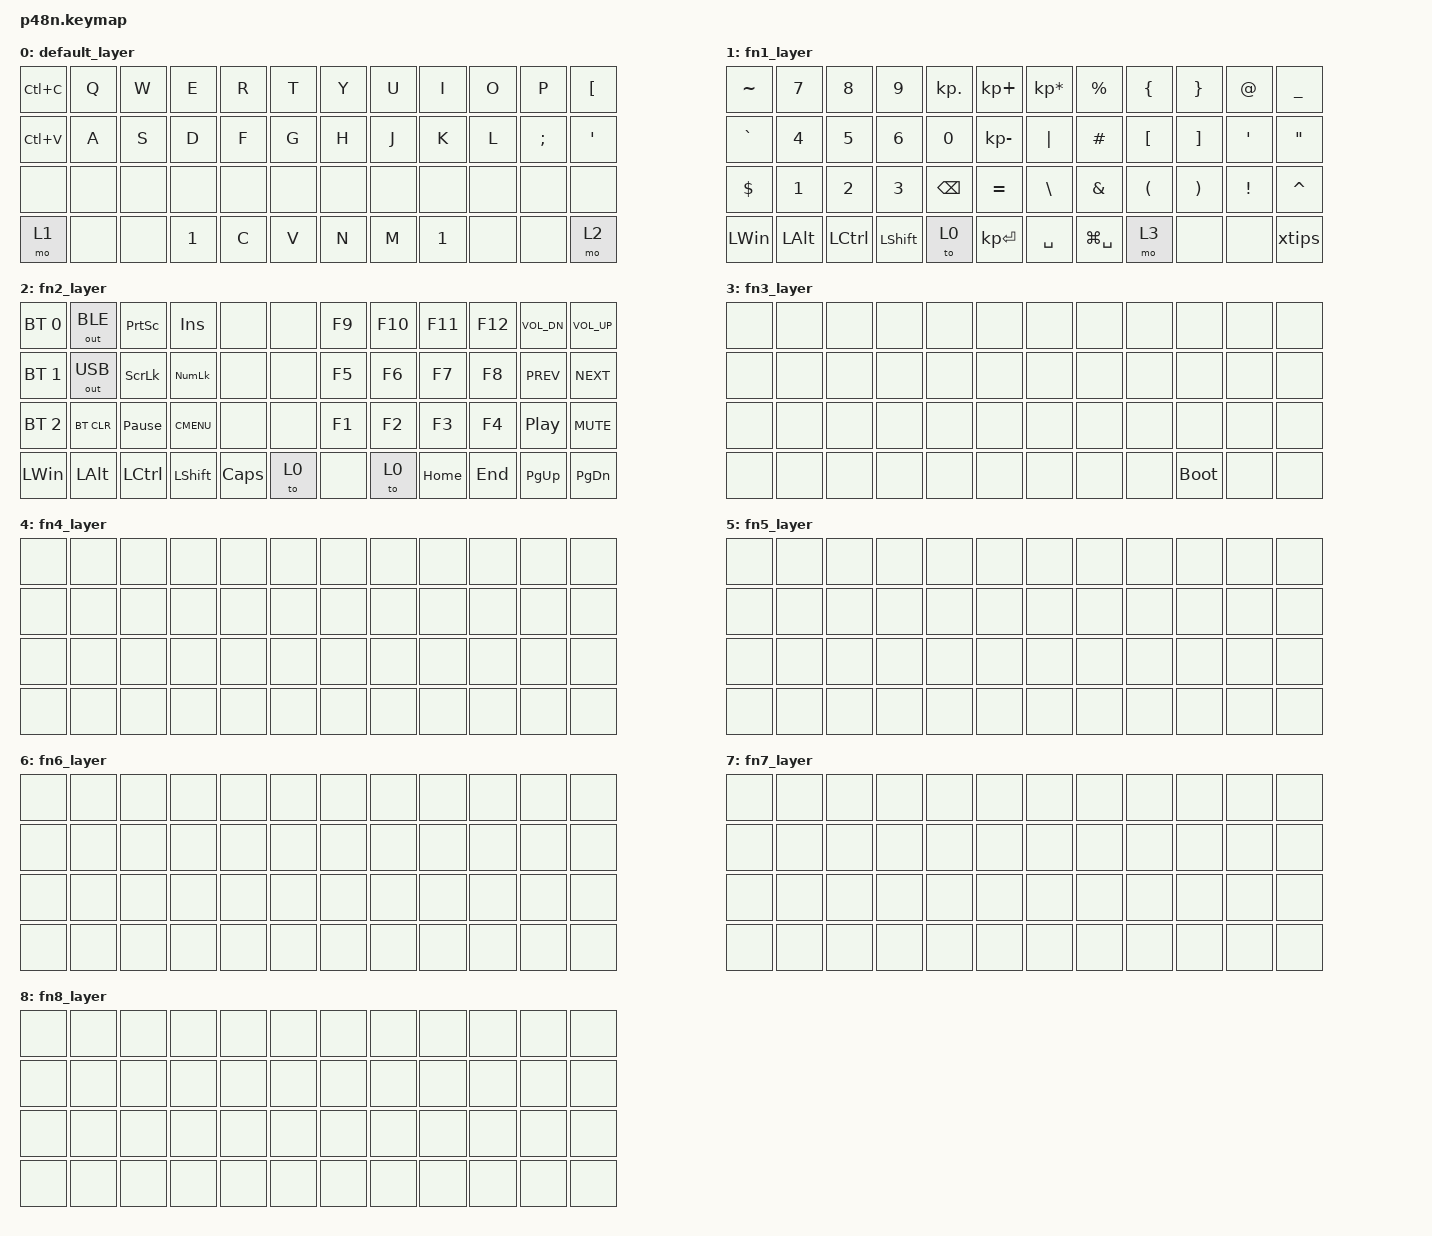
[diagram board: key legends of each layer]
/*
 * Copyright (c) 2020 The ZMK Contributors
 *
 * SPDX-License-Identifier: MIT
 */

#include <behaviors.dtsi>
#include <dt-bindings/zmk/keys.h>
#include <dt-bindings/zmk/rgb.h>
#include <dt-bindings/zmk/bt.h>
#include <dt-bindings/zmk/outputs.h>
#include <dt-bindings/zmk/ext_power.h>
#include <dt-bindings/zmk/mouse.h>

/ {
      macros {
        xtips: xtips {
            compatible = "zmk,behavior-macro";
            label = "XTIPS";
            #binding-cells = <0>;
            bindings = <&kp LS(X) &kp KP_DOT &kp LS(T) &kp I &kp P &kp S>;
            wait-ms = <1>;
            tap-ms = <1>;
        };
      };

	keymap0: keymap {
		compatible = "zmk,keymap";

/* ORIGINAL QWERTY LAYOUT (COMMENTED OUT)
		default_layer {
            bindings = <
            &kp ESC      &kp Q        &kp W        &kp E         &kp R        &kp T     &kp Y      &kp U   &kp I        &kp O     &kp P      &kp BSPC  
            &kp TAB      &kp A        &kp S        &kp D         &kp F        &kp G     &kp H      &kp J   &kp K        &kp L     &kp SEMI   &kp ENTER  
            &kp DEL      &kp Z        &kp X        &kp C         &kp V        &kp B     &kp N      &kp M   &kp COMMA    &kp DOT   &kp SLASH  &kp DEL  
            &kp LWIN     &kp LALT     &kp LCTRL    &kp LSHFT     &mo 1        &kp SPACE &kp SPACE  &mo 2   &kp LEFT     &kp RIGHT &kp UP     &kp DOWN
            >;
		};
*/

/*
 * 4x12 Steno Layout (28 Active Keys)
 * ------------------------------------------------------------------------------------------------
 * Row 1:  #    T    P    H    * * F    P    L    T    D    (none)
 * Code:   Q    W    E    R    T    Y    U    I    O    P    [     none
 * ------------------------------------------------------------------------------------------------
 * Row 2:  S    K    W    R    * * R    B    G    S    Z    (none)
 * Code:   A    S    D    F    G    H    J    K    L    ;    '     none
 * ------------------------------------------------------------------------------------------------
 * Row 3:  (All None)
 * Code:   none none none none none none none none none none none  none
 * ------------------------------------------------------------------------------------------------
 * Row 4:  (none) (none) (none)  #    A    O    E    U    #   (none) (none) (none)
 * Code:   none   none   none    1    C    V    N    M    1    none   none   none
 * ------------------------------------------------------------------------------------------------
 */
		default_layer {
			bindings = <
			&kp LC(C)     &kp Q     &kp W     &kp E     &kp R     &kp T     &kp Y     &kp U     &kp I     &kp O     &kp P     &kp LBKT
			&kp LC(V)     &kp A     &kp S     &kp D     &kp F     &kp G     &kp H     &kp J     &kp K     &kp L     &kp SEMI  &kp SQT
			&none     &none     &none     &none     &none     &none     &none     &none     &none     &none     &none     &none
			&mo 1     &none     &none     &kp N1    &kp C     &kp V     &kp N     &kp M     &kp N1    &none     &none     &mo 2
			>;
		};

		fn1_layer {
            bindings = <
            &kp TILDE   &kp N7    &kp N8    &kp N9    &kp KP_DOT &kp KP_PLUS         &kp KP_MULTIPLY  &kp PRCNT     &kp LBRC      &kp RBRC       &kp AT     &kp UNDER     
            &kp GRAVE   &kp N4    &kp N5    &kp N6    &kp N0     &kp KP_MINUS        &kp PIPE         &kp HASH      &kp LBKT      &kp RBKT       &kp SQT    &kp DQT       
            &kp DLLR    &kp N1    &kp N2    &kp N3    &kp BSPC   &kp EQUAL           &kp BSLH         &kp AMPS      &kp LPAR      &kp RPAR       &kp EXCL   &kp CARET     
            &kp LWIN    &kp LALT  &kp LCTRL &kp LSHFT &to 0      &kp KP_ENTER        &kp SPACE        &kp LG(SPACE) &mo 3         &none          &none      &xtips
             >;
		};

		fn2_layer {
            bindings = <
            &bt BT_SEL 0    &out OUT_BLE   &kp PSCRN         &kp INS          &none      &none   &kp F9      &kp F10      &kp F11     &kp F12    &kp C_VOL_DN     &kp C_VOL_UP        
            &bt BT_SEL 1    &out OUT_USB   &kp SLCK          &kp KP_NLCK      &none      &none   &kp F5      &kp F6       &kp F7      &kp F8     &kp C_PREV       &kp C_NEXT      
            &bt BT_SEL 2    &bt BT_CLR     &kp PAUSE_BREAK   &kp K_CMENU      &none      &none   &kp F1      &kp F2       &kp F3      &kp F4     &kp C_PP         &kp C_MUTE                
            &kp LWIN        &kp LALT       &kp LCTRL         &kp LSHFT        &kp CAPS   &to 0   &none       &to 0        &kp HOME    &kp END    &kp PG_UP        &kp PG_DN
            >;
		};

		fn3_layer {
            bindings = <
            &none   &none   &none   &none  &none   &none   &none   &none  &none   &none       &none   &none       
            &none   &none   &none   &none  &none   &none   &none   &none  &none   &none       &none   &none   
            &none   &none   &none   &none  &none   &none   &none   &none  &none   &none       &none   &none   
            &none   &none   &none   &none  &none   &none   &none   &none  &none   &bootloader &none   &none   
            >;
		};
		
		fn4_layer {
            bindings = <
            &none   &none   &none   &none  &none   &none   &none   &none  &none   &none   &none   &none       
            &none   &none   &none   &none  &none   &none   &none   &none  &none   &none   &none   &none   
            &none   &none   &none   &none  &none   &none   &none   &none  &none   &none   &none   &none   
            &none   &none   &none   &none  &none   &none   &none   &none  &none   &none   &none   &none   
            >;
		};

		fn5_layer {
            bindings = <
            &none   &none   &none   &none  &none   &none   &none   &none  &none   &none   &none   &none       
            &none   &none   &none   &none  &none   &none   &none   &none  &none   &none   &none   &none   
            &none   &none   &none   &none  &none   &none   &none   &none  &none   &none   &none   &none   
            &none   &none   &none   &none  &none   &none   &none   &none  &none   &none   &none   &none   
            >;
		};
		
		fn6_layer {
            bindings = <
            &none   &none   &none   &none  &none   &none   &none   &none  &none   &none   &none   &none       
            &none   &none   &none   &none  &none   &none   &none   &none  &none   &none   &none   &none   
            &none   &none   &none   &none  &none   &none   &none   &none  &none   &none   &none   &none   
            &none   &none   &none   &none  &none   &none   &none   &none  &none   &none   &none   &none   
            >;
		};
		
		fn7_layer {
            bindings = <
            &none   &none   &none   &none  &none   &none   &none   &none  &none   &none   &none   &none       
            &none   &none   &none   &none  &none   &none   &none   &none  &none   &none   &none   &none   
            &none   &none   &none   &none  &none   &none   &none   &none  &none   &none   &none   &none   
            &none   &none   &none   &none  &none   &none   &none   &none  &none   &none   &none   &none   
            >;
		};
		
		fn8_layer {
            bindings = <
            &none   &none   &none   &none  &none   &none   &none   &none  &none   &none   &none   &none       
            &none   &none   &none   &none  &none   &none   &none   &none  &none   &none   &none   &none   
            &none   &none   &none   &none  &none   &none   &none   &none  &none   &none   &none   &none   
            &none   &none   &none   &none  &none   &none   &none   &none  &none   &none   &none   &none   
            >;
		};
	};
};



